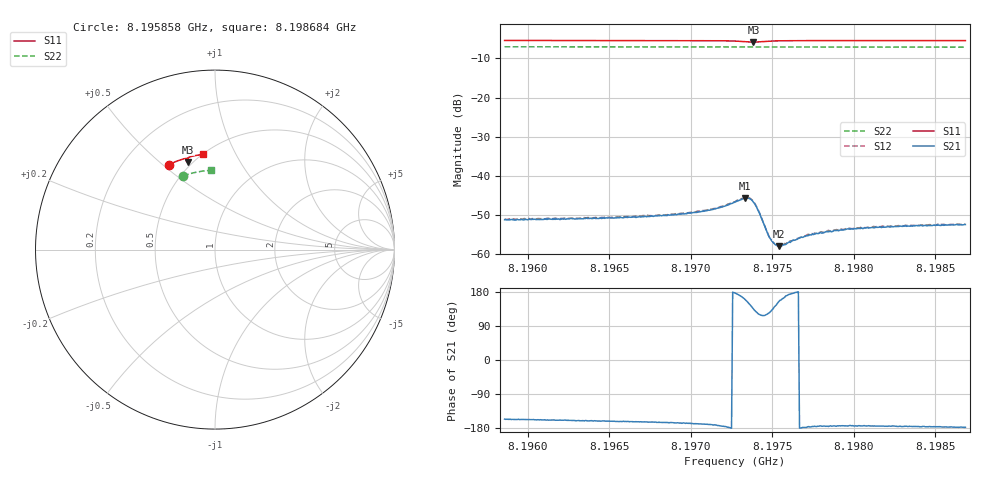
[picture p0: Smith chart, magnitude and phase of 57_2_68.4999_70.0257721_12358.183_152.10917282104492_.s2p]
#  HZ  S  RI  R  50.00
! Rohde & Schwarz Vector Network Analyzer
! Rohde-Schwarz,ZNB20-2Port,1311601062101988,3.16
! Created: UTC 3/20/2024, 4:51:05 PM
! freq[Hz]  re:S11  im:S11  re:S21  im:S21  re:S12  im:S12  re:S22  im:S22
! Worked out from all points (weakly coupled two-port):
!   401 points, 8.195858 GHz to 8.198684 GHz, reference 50 ohm
!   highest |S21| = -45.69 dB at 8.197335 GHz (marker M1); lowest = -58.0 dB at 8.19754 GHz (marker M2)
!   lowest |S11| = -5.8 dB at 8.197384 GHz (marker M3), VSWR 3.10, Z = 23.6 + j31.2 ohm
!   |S11| at or under -10 dB: nowhere
!   |S22| runs from -7.1 to -7.0 dB; largest |S21 - S12| = 0.00026
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8.1958584e9  -0.2558 0.4725  -0.0025 -0.00111  -0.0026 -0.00107  -0.1764 0.4098
8.1963317e9  -0.2252 0.4874  -0.00265 -0.000947  -0.00274 -0.000883  -0.1516 0.4187
8.196805e9  -0.1928 0.5002  -0.00297 -0.000832  -0.00308 -0.000731  -0.1259 0.4262
8.1969675e9  -0.1806 0.5042  -0.0032 -0.000727  -0.00327 -0.000632  -0.1171 0.4285
8.1970806e9  -0.1715 0.5063  -0.00345 -0.000675  -0.00355 -0.000496  -0.1109 0.43
8.1971865e9  -0.1616 0.5076  -0.00395 -0.000387  -0.00403 -0.00026  -0.105 0.4312
8.1972713e9  -0.1516 0.5054  -0.0046 0.000267  -0.00464 0.000468  -0.1003 0.432
8.1973349e9  -0.1457 0.497  -0.00485 0.00188  -0.00487 0.00207  -0.0969 0.4325
8.1973632e9  -0.1475 0.4913  -0.00421 0.00285  -0.00413 0.0031  -0.0954 0.4327
8.1973843e9  -0.1517 0.4888  -0.00324 0.00326  -0.00316 0.00347  -0.0942 0.4328
8.1974126e9  -0.158 0.4905  -0.00194 0.00305  -0.00184 0.00318  -0.093 0.4331
8.1974691e9  -0.1606 0.5005  -0.000963 0.0016  -0.000926 0.00168  -0.09 0.4339
8.1974903e9  -0.1594 0.5035  -0.000959 0.00121  -0.000947 0.00124  -0.0888 0.4343
8.1975186e9  -0.157 0.5068  -0.00104 0.000795  -0.00105 0.000863  -0.0871 0.4346
8.1975398e9  -0.1551 0.5085  -0.00113 0.000555  -0.00113 0.000662  -0.0861 0.4347
8.1975751e9  -0.1518 0.5107  -0.00127 0.000333  -0.0013 0.000394  -0.084 0.4352
8.1976669e9  -0.1438 0.5146  -0.0016 -1.45e-05  -0.00162 7.59e-05  -0.0789 0.436
8.1977446e9  -0.1375 0.517  -0.00178 -0.000144  -0.00182 -8.62e-05  -0.0746 0.4367
8.1978365e9  -0.1303 0.519  -0.00193 -0.000187  -0.00193 -0.000112  -0.0693 0.4374
8.1979707e9  -0.1203 0.5216  -0.00207 -0.000241  -0.00212 -0.000173  -0.0618 0.4383
8.198218e9  -0.1022 0.5254  -0.0022 -0.00022  -0.00225 -0.000113  -0.0479 0.4395
8.1986842e9  -0.0689 0.5304  -0.00237 -9.7e-05  -0.00242 5.56e-05  -0.0215 0.4408
